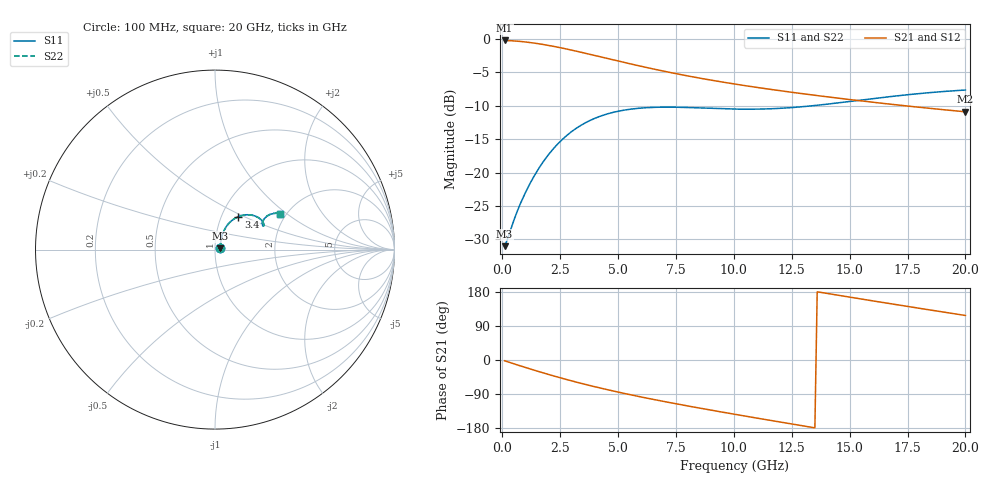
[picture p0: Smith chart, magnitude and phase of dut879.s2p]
! Touchstone file exported from HFSS 2024.1.0
!  File:  C:/UserFiles/LocalFiles/RDL_TSV_Batchsim/temp_RDL_TSV_879_1779929472.aedt
!  Generated:  09:06:18 AM May 28, 2026
!  Design:  RDL_TSV
!  Project:  temp_RDL_TSV_879_1779929472
!  Setup:  Setup1
!  Solution:  Sweep
! Variables:
!  dtsv = 7.72um
!  hbump = 3um
!  htsv = 91.69um
!  ldown = 387.54um
!  lrdl = 546.12um
!  p = 40
!  p1 = 46.64um
!  rhole = 10um
!  subl = 3347.1um
!  t = 450um
!  tdown = 4.12um
!  trdl = 2.58um
!  viad = 10um
!  wdown = 17.74um
!  wrdl = 14.15um
!  xbump = 18um
# GHz S MA R 50.000000
! Terminal data exported
! Port[1] = TM1_1_T1
! Port[2] = TM1_4_T1
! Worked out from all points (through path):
!   200 points, 100 MHz to 20 GHz, reference 50 ohm
!   highest |S21| = -0.24 dB at 100 MHz (marker M1); lowest = -10.9 dB at 20 GHz (marker M2)
!   group delay of S21, straight-line fit = 31.9 ps
!   lowest |S11| = -31.0 dB at 100 MHz (marker M3), VSWR 1.06, Z = 52.8 + j0.711 ohm
!   |S11| at or under -10 dB: start of sweep to 13.43 GHz
!   |S22| runs from -31.0 to -7.7 dB; largest |S21 - S12| = 2e-14
!   S11 on the Smith chart (normalised r, x): 100 MHz: 1.06, +0.01; 3.4 GHz: 1.20, +0.47; 20 GHz: 1.87, +0.89
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0.1  0.02812 13.8  0.9725 -2.0  0.9725 -2.0  0.02812 13.8
! Gamma 0 0 0 0
! Port Impedance 50 0 50 0
0.4  0.0392 40.8  0.9675 -8.1  0.9675 -8.1  0.03921 40.7
0.8  0.05947 55.7  0.9553 -15.9  0.9553 -15.9  0.05947 55.6
1.2  0.08296 62.2  0.9384 -23.5  0.9384 -23.5  0.08292 62.1
1.6  0.109 64.5  0.9172 -31.0  0.9172 -31.0  0.1089 64.4
2  0.1364 64.2  0.8927 -38.2  0.8927 -38.2  0.1363 64.1
2.5  0.1707 61.7  0.8588 -46.9  0.8588 -46.9  0.1704 61.6
2.9  0.1966 58.8  0.8302 -53.6  0.8302 -53.6  0.1963 58.7
3.4  0.2257 54.6  0.7938 -61.5  0.7938 -61.5  0.2252 54.5
3.5  0.231 53.7  0.7865 -63.1  0.7865 -63.1  0.2305 53.7
4.2  0.2625 47.7  0.7364 -73.5  0.7364 -73.5  0.262 47.6
5.1  0.2895 40.6  0.6763 -86.0  0.6763 -86.0  0.2888 40.6
5.9  0.3025 35.4  0.6284 -96.4  0.6284 -96.4  0.3017 35.4
6.8  0.3081 31.0  0.5812 -107.3  0.5812 -107.3  0.3072 31.0
8.4  0.3048 26.6  0.5129 -125.6  0.5129 -125.6  0.3038 26.6
10.1  0.2982 26.2  0.4573 -143.9  0.4573 -143.9  0.2972 26.3
11.7  0.3003 28.5  0.416 -160.6  0.416 -160.6  0.2995 28.6
13.4  0.3159 31.2  0.3801 -178.0  0.3801 -178.0  0.3153 31.4
15.1  0.3416 32.6  0.3498 164.9  0.3498 164.9  0.3412 32.8
16.7  0.3688 32.4  0.3253 149.2  0.3253 149.2  0.3687 32.5
18.3  0.3937 30.9  0.304 133.7  0.304 133.7  0.3937 31.0
20  0.4141 28.5  0.2846 117.5  0.2846 117.5  0.4143 28.7
